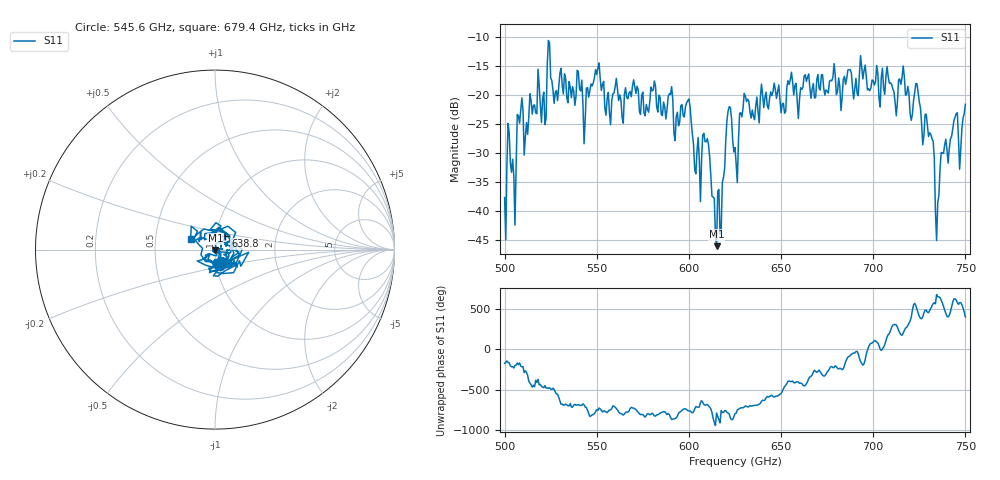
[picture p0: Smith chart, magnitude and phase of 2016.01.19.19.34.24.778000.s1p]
!Created with skrf (http://scikit-rf.org).
# GHz S RI R 50.0
!freq ReS11 ImS11
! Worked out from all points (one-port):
!   401 points, 500 GHz to 750 GHz, reference 50 ohm
!   lowest |S11| = -46.1 dB at 615 GHz (marker M1), VSWR 1.01, Z = 50.2 - j0.458 ohm
!   |S11| at or under -10 dB: start of sweep to end of sweep
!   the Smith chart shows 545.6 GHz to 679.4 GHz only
!   S11 on the Smith chart (normalised r, x): 545.6 GHz: 1.04, -0.19; 638.8 GHz: 1.11, +0.17; 679.4 GHz: 0.76, +0.09
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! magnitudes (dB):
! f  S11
! 500 GHz  -37.7
! 502.5 GHz  -26.6
! 505 GHz  -34.1
! 508.1 GHz  -24.9
! 521.2 GHz  -19.5
! 524.4 GHz  -11.1
! 531.2 GHz  -18.4
! 545.6 GHz  -20.4
! 562.5 GHz  -20.0
! 580.6 GHz  -19.2
! 593.8 GHz  -23.0
! 599.4 GHz  -21.0
! 605 GHz  -27.3
! 609.4 GHz  -28.1
! 615 GHz  -46.1
! 618.1 GHz  -35.1
! 621.9 GHz  -22.0
! 625 GHz  -29.1
! 630.6 GHz  -20.2
! 638.8 GHz  -20.4
! 656.2 GHz  -17.7
! 679.4 GHz  -16.6
! 687.5 GHz  -15.7
! 718.8 GHz  -18.5
! 731.2 GHz  -26.8
! 735 GHz  -38.6
! 738.1 GHz  -30.1
! 750 GHz  -21.6
